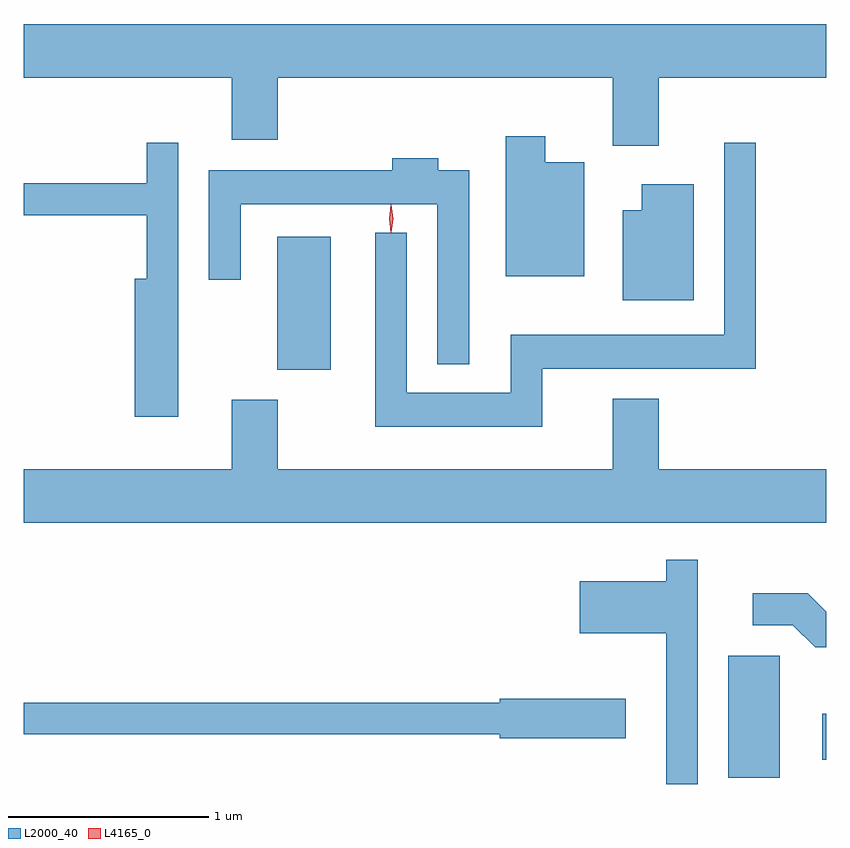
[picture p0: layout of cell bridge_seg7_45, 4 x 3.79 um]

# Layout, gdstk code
import gdstk
lib = gdstk.Library(unit=1e-6, precision=1e-09)
def R(c, l, rs):  # rectangles x0, y0, x1, y1
    for r in rs: c.add(gdstk.rectangle(r[:2], r[2:], *l))
def P(c, l, *ps):  # polygons
    for p in ps: c.add(gdstk.Polygon(p, *l))
L2000_40 = (2000, 40)
L4165_0 = (4165, 0)

bridge_seg7_45 = lib.new_cell('bridge_seg7_45')
R(bridge_seg7_45, L2000_40, [(1527.316,1801.846,1527.574,1802.454), (1527.786,1801.936,1527.804,1802.164), (1525.066,1803.881,1525.334,1804.544)])
P(bridge_seg7_45, L2000_40, [(1526.969,1805.336),(1527.804,1805.336),(1527.804,1805.604),(1523.804,1805.604),(1523.804,1805.336),(1524.841,1805.336),(1524.841,1805.026),(1525.069,1805.026),(1525.069,1805.336),(1526.741,1805.336),(1526.741,1804.996),(1526.969,1804.996)],
  [(1526.599,1804.914),(1526.404,1804.914),(1526.404,1805.044),(1526.206,1805.044),(1526.206,1804.346),(1526.599,1804.346)],
  [(1524.574,1805.013),(1524.416,1805.013),(1524.416,1804.809),(1523.804,1804.809),(1523.804,1804.651),(1524.416,1804.651),(1524.416,1804.334),(1524.356,1804.334),(1524.356,1803.646),(1524.574,1803.646)],
  [(1526.389,1803.886),(1527.454,1803.886),(1527.454,1805.013),(1527.296,1805.013),(1527.296,1804.054),(1526.231,1804.054),(1526.231,1803.764),(1525.714,1803.764),(1525.714,1804.563),(1525.556,1804.563),(1525.556,1803.596),(1526.389,1803.596)],
  [(1526.024,1804.874),(1525.869,1804.874),(1525.869,1804.934),(1525.641,1804.934),(1525.641,1804.874),(1524.726,1804.874),(1524.726,1804.328),(1524.884,1804.328),(1524.884,1804.706),(1525.866,1804.706),(1525.866,1803.908),(1526.024,1803.908)],
  [(1527.144,1804.804),(1526.886,1804.804),(1526.886,1804.674),(1526.791,1804.674),(1526.791,1804.226),(1527.144,1804.226)],
  [(1527.804,1803.384),(1526.969,1803.384),(1526.969,1803.734),(1526.741,1803.734),(1526.741,1803.384),(1525.069,1803.384),(1525.069,1803.729),(1524.841,1803.729),(1524.841,1803.384),(1523.804,1803.384),(1523.804,1803.116),(1527.804,1803.116)],
  [(1527.164,1802.933),(1527.006,1802.933),(1527.006,1802.824),(1526.576,1802.824),(1526.576,1802.566),(1527.006,1802.566),(1527.006,1801.814),(1527.164,1801.814)],
  [(1527.804,1802.672),(1527.712,1802.764),(1527.438,1802.764),(1527.438,1802.606),(1527.639,1802.606),(1527.749,1802.496),(1527.804,1802.496)],
  [(1526.804,1802.239),(1526.176,1802.239),(1526.176,1802.219),(1523.804,1802.219),(1523.804,1802.061),(1526.176,1802.061),(1526.176,1802.041),(1526.804,1802.041)])
P(bridge_seg7_45, L4165_0, [(1525.635,1804.563),(1525.634,1804.564),(1525.625,1804.633),(1525.634,1804.702),(1525.635,1804.703),(1525.636,1804.702),(1525.645,1804.633),(1525.636,1804.564)],
  [(1525.634,1804.567),(1525.625,1804.634),(1525.634,1804.7),(1525.635,1804.7),(1525.636,1804.7),(1525.645,1804.634),(1525.636,1804.567),(1525.635,1804.567)])

lib.write_gds('bridge_seg7_45.gds')
